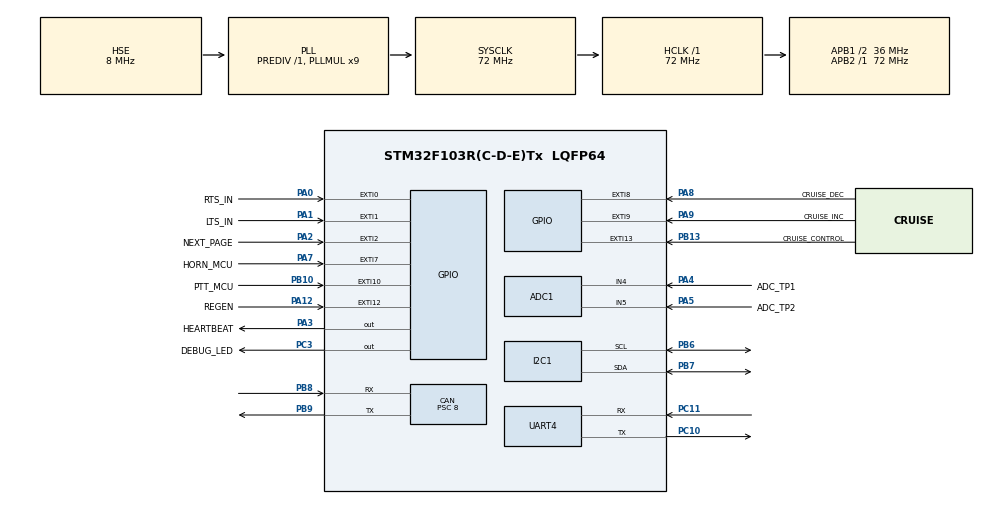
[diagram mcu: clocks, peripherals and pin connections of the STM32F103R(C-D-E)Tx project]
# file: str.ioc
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ADC1.Channel-0\#ChannelRegularConversion=ADC_CHANNEL_TEMPSENSOR
ADC1.NbrOfConversionFlag=1
ADC1.Rank-0\#ChannelRegularConversion=1
ADC1.SamplingTime-0\#ChannelRegularConversion=ADC_SAMPLETIME_1CYCLE_5
ADC1.master=1
CAN.BS1=CAN_BS1_4TQ
CAN.BS2=CAN_BS2_4TQ
CAN.CalculateBaudRate=500000
CAN.CalculateTimeBit=2000
CAN.CalculateTimeQuantum=222.22222222222223
CAN.NART=ENABLE
CAN.Prescaler=8
FREERTOS.Tasks01=defaultTask,24,128,StartDefaultTask,Default,NULL,Static,defaultTaskBuffer,defaultTaskControlBlock
Mcu.Family=STM32F1
Mcu.Name=STM32F103R(C-D-E)Tx
Mcu.Package=LQFP64
NVIC.CAN1_SCE_IRQn=true\:5\:0\:false\:false\:true\:true\:true\:true\:true
NVIC.EXTI0_IRQn=true\:5\:0\:false\:false\:true\:true\:true\:true\:true
NVIC.EXTI15_10_IRQn=true\:5\:0\:false\:false\:true\:true\:true\:true\:true
NVIC.EXTI1_IRQn=true\:5\:0\:false\:false\:true\:true\:true\:true\:true
NVIC.EXTI2_IRQn=true\:5\:0\:false\:false\:true\:true\:true\:true\:true
NVIC.EXTI9_5_IRQn=true\:5\:0\:false\:false\:true\:true\:true\:true\:true
NVIC.PriorityGroup=NVIC_PRIORITYGROUP_4
NVIC.USB_HP_CAN1_TX_IRQn=true\:5\:0\:false\:false\:true\:true\:true\:true\:true
NVIC.USB_LP_CAN1_RX0_IRQn=true\:5\:0\:false\:false\:true\:true\:true\:true\:true
PA0-WKUP.GPIO_Label=RTS_IN
PA0-WKUP.GPIO_ModeDefaultEXTI=GPIO_MODE_IT_RISING_FALLING
PA0-WKUP.Signal=GPXTI0
PA1.GPIO_Label=LTS_IN
PA1.GPIO_ModeDefaultEXTI=GPIO_MODE_IT_RISING_FALLING
PA1.Signal=GPXTI1
PA12.GPIO_Label=REGEN
PA12.GPIO_ModeDefaultEXTI=GPIO_MODE_IT_RISING_FALLING
PA12.Signal=GPXTI12
PA13.Mode=Trace_Asynchronous_SW
PA13.Signal=SYS_JTMS-SWDIO
PA14.Mode=Trace_Asynchronous_SW
PA14.Signal=SYS_JTCK-SWCLK
PA2.GPIO_Label=NEXT_PAGE
PA2.GPIO_ModeDefaultEXTI=GPIO_MODE_IT_RISING_FALLING
PA2.Signal=GPXTI2
PA3.GPIO_Label=HEARTBEAT
PA3.Signal=GPIO_Output
PA4.GPIO_Label=ADC_TP1
PA4.Signal=ADCx_IN4
PA5.GPIO_Label=ADC_TP2
PA5.Signal=ADCx_IN5
PA7.GPIO_Label=HORN_MCU
PA7.GPIO_ModeDefaultEXTI=GPIO_MODE_IT_RISING_FALLING
PA7.Signal=GPXTI7
PA8.GPIO_Label=CRUISE_DEC
PA8.GPIO_ModeDefaultEXTI=GPIO_MODE_IT_FALLING
PA8.Signal=GPXTI8
PA9.GPIO_Label=CRUISE_INC
PA9.GPIO_ModeDefaultEXTI=GPIO_MODE_IT_FALLING
PA9.Signal=GPXTI9
PB10.GPIO_Label=PTT_MCU
PB10.GPIO_ModeDefaultEXTI=GPIO_MODE_IT_RISING_FALLING
PB10.Signal=GPXTI10
PB13.GPIO_Label=CRUISE_CONTROL
PB13.GPIO_ModeDefaultEXTI=GPIO_MODE_IT_FALLING
PB13.Signal=GPXTI13
PB3.Mode=Trace_Asynchronous_SW
PB3.Signal=SYS_JTDO-TRACESWO
PB6.Mode=I2C
PB6.Signal=I2C1_SCL
PB7.Mode=I2C
PB7.Signal=I2C1_SDA
PB8.Mode=CAN_Activate
PB8.Signal=CAN_RX
PB9.Mode=CAN_Activate
PB9.Signal=CAN_TX
PC10.Mode=Asynchronous
PC10.Signal=UART4_TX
PC11.Mode=Asynchronous
PC11.Signal=UART4_RX
PC3.GPIO_Label=DEBUG_LED
PC3.Signal=GPIO_Output
PD0-OSC_IN.Mode=HSE-External-Oscillator
PD0-OSC_IN.Signal=RCC_OSC_IN
PD1-OSC_OUT.Mode=HSE-External-Oscillator
PD1-OSC_OUT.Signal=RCC_OSC_OUT
ProjectManager.HeapSize=0x200
ProjectManager.StackSize=0x400
ProjectManager.TargetToolchain=CMake
RCC.AHBFreq_Value=72000000
RCC.APB1CLKDivider=RCC_HCLK_DIV2
RCC.APB1Freq_Value=36000000
RCC.APB1TimFreq_Value=72000000
RCC.APB2Freq_Value=72000000
RCC.APB2TimFreq_Value=72000000
RCC.HCLKFreq_Value=72000000
RCC.PLLMUL=RCC_PLL_MUL9
RCC.PLLSourceVirtual=RCC_PLLSOURCE_HSE
RCC.SYSCLKFreq_VALUE=72000000
RCC.SYSCLKSource=RCC_SYSCLKSOURCE_PLLCLK
RCC.USBFreq_Value=72000000
SH.ADCx_IN4.0=ADC1_IN4,IN4
SH.ADCx_IN5.0=ADC1_IN5,IN5
UART4.VirtualMode=Asynchronous
VP_ADC1_TempSens_Input.Mode=IN-TempSens
VP_ADC1_Vref_Input.Mode=IN-Vrefint
VP_FREERTOS_VS_CMSIS_V2.Mode=CMSIS_V2
VP_IWDG_VS_IWDG.Mode=IWDG_Activate
board=custom

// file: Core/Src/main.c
/* USER CODE BEGIN Header */
/**
  ******************************************************************************
  * @file           : main.c
  * @brief          : Main program body
  ******************************************************************************
  * @attention
  *
  * Copyright (c) 2026 STMicroelectronics.
  * All rights reserved.
  *
  * This software is licensed under terms that can be found in the LICENSE file
  * in the root directory of this software component.
  * If no LICENSE file comes with this software, it is provided AS-IS.
  *
  ******************************************************************************
  */
/* USER CODE END Header */
#include "main.h"
#include "cmsis_os.h"
#include "adc.h"
#include "can.h"
#include "i2c.h"
#include "iwdg.h"
#include "usart.h"
#include "gpio.h"

/* USER CODE BEGIN Includes */
#include "can_app.h"
#include "tasks.h"
#include "iwdg_common.h"
/* USER CODE END Includes */

void SystemClock_Config(void);
void MX_FREERTOS_Init(void);

int main(void)
{

  /* MCU Configuration--------------------------------------------------------*/

  /* Reset of all peripherals, Initializes the Flash interface and the Systick. */
  HAL_Init();

  /* Configure the system clock */
  SystemClock_Config();

  /* Initialize all configured peripherals */
  MX_GPIO_Init();
  MX_CAN_Init();
  MX_I2C1_Init();
  #ifndef DEBUG
  MX_IWDG_Init();
  #endif
  MX_ADC1_Init();
  MX_UART4_Init();
  /* USER CODE BEGIN 2 */
  CanAppInit();
  /* USER CODE END 2 */

  /* Init scheduler */
  osKernelInitialize();  /* Call init function for freertos objects (in cmsis_os2.c) */
  MX_FREERTOS_Init();

  /* Start scheduler */
  osKernelStart();

  /* We should never get here as control is now taken by the scheduler */

  /* Infinite loop */
  while (1)
  {

  }
}

void SystemClock_Config(void)
{
  RCC_OscInitTypeDef RCC_OscInitStruct = {0};
  RCC_ClkInitTypeDef RCC_ClkInitStruct = {0};
  RCC_PeriphCLKInitTypeDef PeriphClkInit = {0};

  /** Initializes the RCC Oscillators according to the specified parameters
  * in the RCC_OscInitTypeDef structure.
  */
  RCC_OscInitStruct.OscillatorType = RCC_OSCILLATORTYPE_LSI|RCC_OSCILLATORTYPE_HSE;
  RCC_OscInitStruct.HSEState = RCC_HSE_ON;
  RCC_OscInitStruct.HSEPredivValue = RCC_HSE_PREDIV_DIV1;
  RCC_OscInitStruct.HSIState = RCC_HSI_ON;
  RCC_OscInitStruct.LSIState = RCC_LSI_ON;
  RCC_OscInitStruct.PLL.PLLState = RCC_PLL_ON;
  RCC_OscInitStruct.PLL.PLLSource = RCC_PLLSOURCE_HSE;
  RCC_OscInitStruct.PLL.PLLMUL = RCC_PLL_MUL9;
  if (HAL_RCC_OscConfig(&RCC_OscInitStruct) != HAL_OK)
  {
    Error_Handler();
  }

  /** Initializes the CPU, AHB and APB buses clocks
  */
  RCC_ClkInitStruct.ClockType = RCC_CLOCKTYPE_HCLK|RCC_CLOCKTYPE_SYSCLK
                              |RCC_CLOCKTYPE_PCLK1|RCC_CLOCKTYPE_PCLK2;
  RCC_ClkInitStruct.SYSCLKSource = RCC_SYSCLKSOURCE_PLLCLK;
  RCC_ClkInitStruct.AHBCLKDivider = RCC_SYSCLK_DIV1;
  RCC_ClkInitStruct.APB1CLKDivider = RCC_HCLK_DIV2;
  RCC_ClkInitStruct.APB2CLKDivider = RCC_HCLK_DIV1;

  if (HAL_RCC_ClockConfig(&RCC_ClkInitStruct, FLASH_LATENCY_2) != HAL_OK)
  {
    Error_Handler();
  }
  PeriphClkInit.PeriphClockSelection = RCC_PERIPHCLK_ADC;
  PeriphClkInit.AdcClockSelection = RCC_ADCPCLK2_DIV2;
  if (HAL_RCCEx_PeriphCLKConfig(&PeriphClkInit) != HAL_OK)
  {
    Error_Handler();
  }
}

void Error_Handler(void)
{
  __disable_irq();
  while (1)
  {
  }
}

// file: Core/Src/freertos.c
/* USER CODE BEGIN Header */
/**
  ******************************************************************************
  * File Name          : freertos.c
  * Description        : Code for freertos applications
  ******************************************************************************
  * @attention
  *
  * Copyright (c) 2026 STMicroelectronics.
  * All rights reserved.
  *
  * This software is licensed under terms that can be found in the LICENSE file
  * in the root directory of this software component.
  * If no LICENSE file comes with this software, it is provided AS-IS.
  *
  ******************************************************************************
  */
/* USER CODE END Header */

#include "FreeRTOS.h"
#include "task.h"
#include "main.h"
#include "cmsis_os.h"

/* USER CODE BEGIN Includes */
#include "tasks.h"
/* USER CODE END Includes */

typedef StaticTask_t osStaticThreadDef_t;
/* USER CODE BEGIN PTD */
typedef StaticTask_t osStaticThreadDef_t;
typedef StaticEventGroup_t osStaticEventGroupDef_t;
/* USER CODE END PTD */

/* USER CODE BEGIN Variables */

/* Definitions for TasksHexDisplay */
osThreadId_t TasksHexDisplayHandle;
uint32_t TasksHexDisplayBuffer[256];
osStaticThreadDef_t TasksHexDisplayControlBlock;

const osThreadAttr_t TasksHexDisplay_attributes = {
  .name = "TasksHexDisplay",
  .cb_mem = &TasksHexDisplayControlBlock,
  .cb_size = sizeof(TasksHexDisplayControlBlock),
  .stack_mem = &TasksHexDisplayBuffer[0],
  .stack_size = sizeof(TasksHexDisplayBuffer),
  .priority = (osPriority_t) osPriorityNormal,
};

/* Definitions for TasksSteeringOutputs */
osThreadId_t TasksSteeringOutputsHandle;
uint32_t TasksSteeringOutputsBuffer[256];
osStaticThreadDef_t TasksSteeringOutputsControlBlock;

const osThreadAttr_t TasksSteeringOutputs_attributes = {
  .name = "TasksSteeringOutputs",
  .cb_mem = &TasksSteeringOutputsControlBlock,
  .cb_size = sizeof(TasksSteeringOutputsControlBlock),
  .stack_mem = &TasksSteeringOutputsBuffer[0],
  .stack_size = sizeof(TasksSteeringOutputsBuffer),
  .priority = (osPriority_t) osPriorityLow1,
};

/* Definitions for TasksDiagnostic */
osThreadId_t TasksDiagnosticHandle;
uint32_t TasksDiagnosticBuffer[128];
osStaticThreadDef_t TasksDiagnosticControlBlock;

const osThreadAttr_t TasksDiagnostic_attributes = {
  .name = "TasksDiagnostic",
  .cb_mem = &TasksDiagnosticControlBlock,
  .cb_size = sizeof(TasksDiagnosticControlBlock),
  .stack_mem = &TasksDiagnosticBuffer[0],
  .stack_size = sizeof(TasksDiagnosticBuffer),
  .priority = (osPriority_t) osPriorityLow1,
};

/* Definitions for TasksWatchDog */
osThreadId_t TasksIWDGHandle;
uint32_t TasksIWDGBuffer[128];
osStaticThreadDef_t TasksIWDGControlBlock;

const osThreadAttr_t TasksIWDG_attributes = {
  .name = "TasksIWDG",
  .cb_mem = &TasksIWDGControlBlock,
  .cb_size = sizeof(TasksIWDGControlBlock),
  .stack_mem = &TasksIWDGBuffer[0],
  .stack_size = sizeof(TasksIWDGBuffer),
  .priority = (osPriority_t) osPriorityLow,
};

/* Definitions for TasksTimeSinceBootUp */
osThreadId_t TasksTimeSinceBootUpHandle;
uint32_t TasksTimeSinceBootUpBuffer[128];
osStaticThreadDef_t TasksTimeSinceBootUpControlBlock;

const osThreadAttr_t TasksTimeSinceBootUp_attributes = {
  .name = "TasksTimeSinceBootUp",
  .cb_mem = &TasksTimeSinceBootUpControlBlock,
  .cb_size = sizeof(TasksTimeSinceBootUpControlBlock),
  .stack_mem = &TasksTimeSinceBootUpBuffer[0],
  .stack_size = sizeof(TasksTimeSinceBootUpBuffer),
  .priority = (osPriority_t) osPriorityLow1,
};

/* USER CODE END Variables */
/* Definitions for defaultTask */
osThreadId_t defaultTaskHandle;
uint32_t defaultTaskBuffer[ 128 ];
osStaticThreadDef_t defaultTaskControlBlock;
const osThreadAttr_t defaultTask_attributes = {
  .name = "defaultTask",
  .cb_mem = &defaultTaskControlBlock,
  .cb_size = sizeof(defaultTaskControlBlock),
  .stack_mem = &defaultTaskBuffer[0],
  .stack_size = sizeof(defaultTaskBuffer),
  .priority = (osPriority_t) osPriorityNormal,
};

void StartDefaultTask(void *argument);

void MX_FREERTOS_Init(void); /* (MISRA C 2004 rule 8.1) */

void MX_FREERTOS_Init(void) {

  /* Create the thread(s) */
  /* creation of defaultTask */
  defaultTaskHandle = osThreadNew(StartDefaultTask, NULL, &defaultTask_attributes);

  /* USER CODE BEGIN RTOS_THREADS */
  /* add threads, ... */

  /* Initialization for TasksHexDisplay */
  TasksHexDisplayHandle = osThreadNew(StartHexDisplayTask, NULL, &TasksHexDisplay_attributes);

  /* Initialization for TasksSteeringOutputs */
  TasksSteeringOutputsHandle = osThreadNew(StartSteeringOutputsTask, NULL, &TasksSteeringOutputs_attributes);

  /* Initialization for TasksDiagnostic */
  TasksDiagnosticHandle = osThreadNew(TasksDiagnostic, NULL, &TasksDiagnostic_attributes);

  /* Initialization for TasksTimeSinceBootUp */
  TasksTimeSinceBootUpHandle = osThreadNew(TimeSinceBootUp, NULL, &TasksTimeSinceBootUp_attributes);

  /* Initialization for TasksIWDG */
  TasksIWDGHandle = osThreadNew(TasksIWDG, NULL, &TasksIWDG_attributes);

  /* USER CODE END RTOS_THREADS */

}

void StartDefaultTask(void *argument)
{
  for(;;)
  {
    osDelay(1);
  }
}
